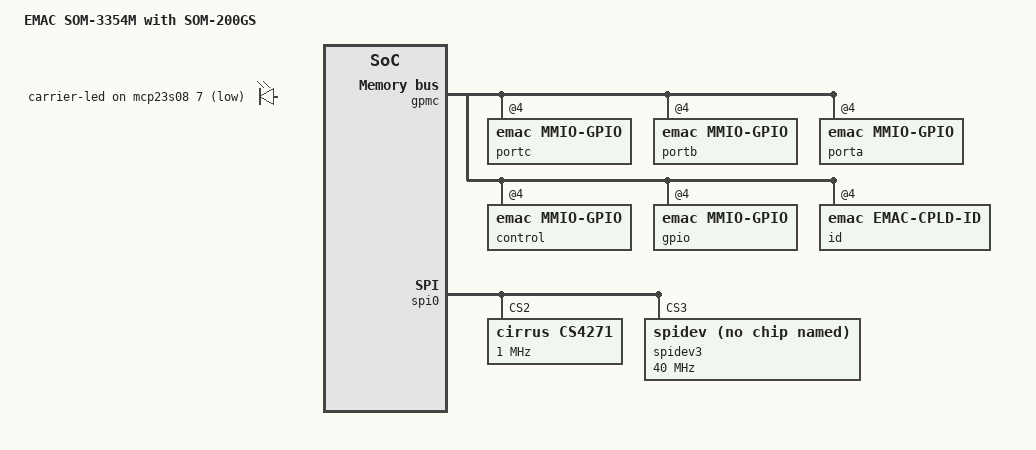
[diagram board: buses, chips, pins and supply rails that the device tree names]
/*
 * som-3354-200gs.dts - Device Tree file for the SOM-3354M with SOM-200GS.
 *
 * Copyright (C) 2015 EMAC Inc.
 * Copyright (C) 2015 QWERTY Embedded Design
 *
 * This program is free software; you can redistribute it and/or modify
 * it under the terms of the GNU General Public License version 2 as
 * published by the Free Software Foundation.
 */

/dts-v1/;

#include "som-3354.dtsi"

/ {
	model = "EMAC SOM-3354M with SOM-200GS";

	vmmc: fixedregulator@1 {
		enable-active-high;
        };

	sound {
		compatible = "simple-audio-card";
		simple-audio-card,name = "cs4271 @ SOM3354";
		simple-audio-card,format = "i2s";
		simple-audio-card,bitclock-master = <&codec_master>;
		simple-audio-card,frame-master = <&codec_master>;
		simple-audio-card,widgets =
			"Line", "Line In",
			"Line", "Line Out";
		simple-audio-card,routing =
			"Line In", "Capture",
			"Line Out", "Playback";

		cpu_master: simple-audio-card,cpu {
			sound-dai = <&mcasp0>;
		};

		codec_master: simple-audio-card,codec {
			sound-dai = <&cs4271>;
			clocks = <&si5351 2>;
		};
	};

	leds {
		led@1 {
			label = "carrier-led";
			gpios = <&mcp23s08 7 GPIO_ACTIVE_LOW>;
			default-state = "on";
		};
	};
};

&gpmc {
	portc: cpld@portc {
		compatible = "emac,mmio-gpio";
		reg-names = "dat";
		reg = <0x4 0x4 0x1>;
		bank-width = <1>;
		gpio-controller;
		no-input;
		#gpio-cells = <1>;
		status = "okay";

		gpmc,mux-add-data = <0>;
		gpmc,device-width = <1>;
		gpmc,wait-pin = <0>;
		gpmc,cycle2cycle-samecsen = <1>;
		gpmc,cycle2cycle-diffcsen = <1>;
		gpmc,cs-on-ns = <20>;
		gpmc,cs-rd-off-ns = <300>;
		gpmc,cs-wr-off-ns = <300>;
		gpmc,adv-on-ns = <80>;
		gpmc,adv-rd-off-ns = <100>;
		gpmc,adv-wr-off-ns = <110>;
		gpmc,oe-on-ns = <110>;
		gpmc,oe-off-ns = <300>;
		gpmc,we-on-ns = <100>;
		gpmc,we-off-ns = <300>;
		gpmc,rd-cycle-ns = <300>;
		gpmc,wr-cycle-ns = <300>;
		gpmc,access-ns = <280>;
		gpmc,page-burst-access-ns = <20>;
		gpmc,bus-turnaround-ns = <20>;
		gpmc,cycle2cycle-delay-ns = <20>;
		gpmc,wr-access-ns = <280>;
	};

	portb: cpld@portb {
		compatible = "emac,mmio-gpio";
		reg-names = "dat", "dirout";
		reg = <0x4 0x2 0x1>;
		bank-width = <1>;
		gpio-controller;
		#gpio-cells = <1>;
		status = "okay";
	};

	porta: cpld@porta {
		compatible = "emac,mmio-gpio";
		reg-names = "dat", "dirout";
		reg = <0x4 0x0 0x1>;
		bank-width = <1>;
		gpio-controller;
		#gpio-cells = <1>;
		status = "okay";
	};

	control: cpld@comshtdn {
		compatible = "emac,mmio-gpio";
		reg-names = "dat";
		reg = <0x4 0x6 0x1>;
		bank-width = <1>;
		gpio-controller;
		no-input;
		#gpio-cells = <1>;
		status = "okay";
	};

	gpio: cpld@handy {
		compatible = "emac,mmio-gpio";
		reg-names = "dat", "dirout";
		reg = <0x4 0x8 0x1>;
		bank-width = <1>;
		gpio-controller;
		#gpio-cells = <1>;
		status = "okay";
	};

	id: cpld@id {
		compatible = "emac,emac-cpld-id";
		reg = <0x4 0x7 0x1>;
		#address-cells = <1>;
		#size-cells = <1>;
	};
};

&spi0 {
	cs4271: cs4271@2 {
		#sound-dai-cells = <0>;
		compatible = "cirrus,cs4271";
		spi-cpol;
		spi-cpha;
		reg = <2>;
		spi-max-frequency = <1000000>;
		status = "okay";
	};

	spidev3: spidev@3 {
		compatible = "emac,spidev";
		reg = <3>;
		spi-max-frequency = <40000000>;
		status = "okay";
	};
};
